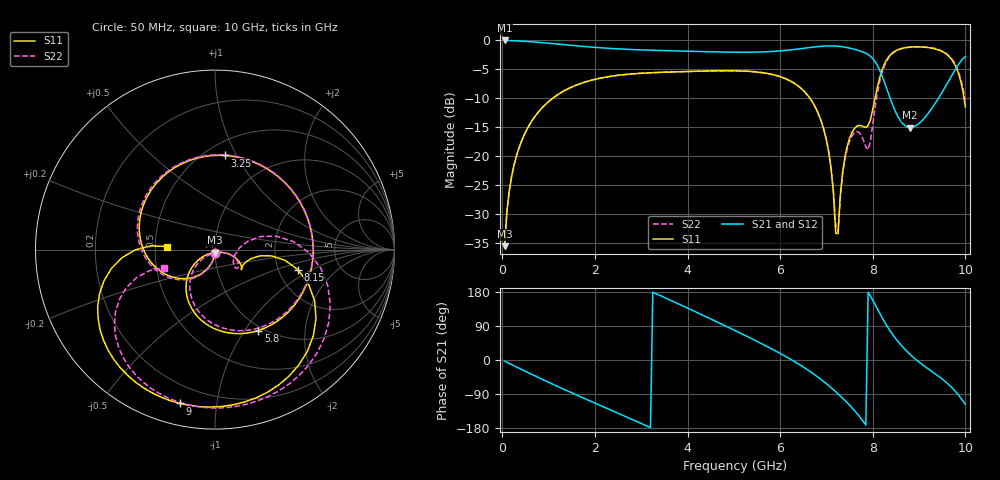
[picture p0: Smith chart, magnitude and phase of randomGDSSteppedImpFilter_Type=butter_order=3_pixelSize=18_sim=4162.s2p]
! freq	dB(S11)	phase(S11)	dB(S12)	phase(S12)
!  dB(S21)	phase(S21)	dB(S22)	phase(S22)
!S-par simulation data
#  GHz  S  DB  R 50
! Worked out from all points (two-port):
!   200 points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, 50 MHz to 10 GHz, reference 50 ohm
!   highest |S21| = -0.01 dB at 50 MHz (marker M1); lowest = -15.0 dB at 8.8 GHz (marker M2)
!   |S21| within 3 dB of the highest: start of sweep to 7.984 GHz; 9.967899 GHz to end of sweep
!   lowest |S11| = -35.5 dB at 50 MHz (marker M3), VSWR 1.03, Z = 49.9 - j1.67 ohm
!   |S11| at or under -10 dB: start of sweep to 1.086 GHz; 6.643 GHz to 8.048 GHz (1.405 GHz wide, 19.1 % of centre); 9.971089 GHz to end of sweep
!   |S22| runs from -35.5 to -1.1 dB; largest |S21 - S12| = 0
!   S11 on the Smith chart (normalised r, x): 50 MHz: 1.00, -0.03; 3.25 GHz: 0.62, +0.90; 5.8 GHz: 0.95, -1.16; 8.15 GHz: 2.57, -0.75; 9 GHz: 0.10, -0.79; 10 GHz: 0.58, +0.02
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0.05  -35.51 -92.8  -0.01 -3.0  -0.01 -3.0  -35.51 -92.7
0.2  -23.55 -102.4  -0.04 -12.1  -0.04 -12.1  -23.55 -101.9
0.5  -15.86 -120.9  -0.16 -29.9  -0.16 -29.9  -15.86 -119.7
1.1  -9.91 -156.5  -0.56 -64.5  -0.56 -64.5  -9.91 -153.7
1.75  -7.28 166.8  -1.04 -100.3  -1.04 -100.3  -7.28 171.4
3.25  -5.56 84.2  -1.71 178.9  -1.71 178.9  -5.57 92.7
3.4  -5.51 75.8  -1.74 170.7  -1.74 170.7  -5.52 84.6
4.3  -5.30 25.1  -1.93 120.0  -1.93 120.0  -5.31 34.6
5.05  -5.25 -17.6  -2.04 76.3  -2.04 76.3  -5.25 -8.8
5.8  -5.83 -61.9  -1.92 30.4  -1.92 30.4  -5.83 -54.4
6.7  -10.69 -123.0  -1.17 -34.9  -1.17 -34.9  -10.67 -117.1
7  -17.26 -145.5  -0.96 -62.7  -0.96 -62.7  -17.16 -139.8
7.25  -33.36 -42.9  -1.01 -89.3  -1.01 -89.3  -32.99 -51.4
7.45  -18.23 -21.6  -1.24 -113.0  -1.24 -113.0  -18.69 -21.9
7.8  -14.89 -35.6  -2.04 -163.0  -2.04 -163.0  -17.24 -40.5
7.9  -14.71 -22.6  -2.44 178.8  -2.44 178.8  -18.86 -16.0
8.15  -6.43 -13.7  -5.15 123.6  -5.15 123.6  -7.12 5.8
8.35  -2.77 -41.0  -9.42 81.3  -9.42 81.3  -2.94 -25.6
8.8  -1.16 -87.5  -15.03 15.3  -15.03 15.3  -1.15 -74.5
9  -1.12 -102.9  -14.33 -5.7  -14.33 -5.7  -1.08 -90.0
9.6  -2.43 -149.4  -7.55 -60.4  -7.55 -60.4  -2.32 -134.5
10  -11.47 176.3  -2.78 -117.3  -2.78 -117.3  -10.40 -160.4
